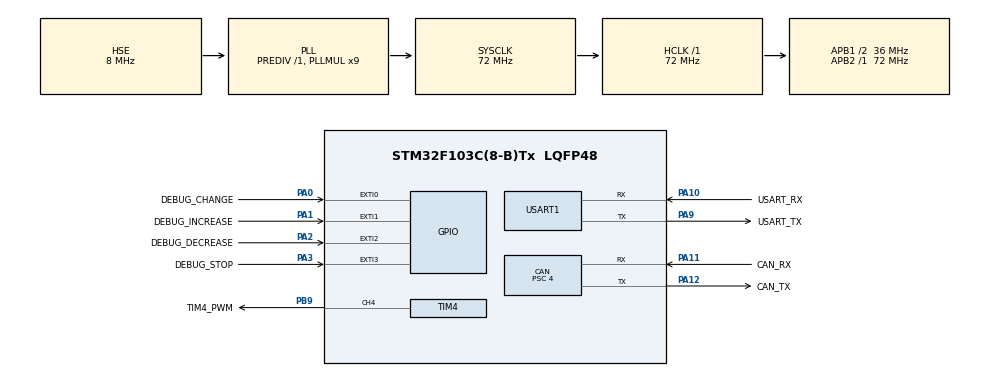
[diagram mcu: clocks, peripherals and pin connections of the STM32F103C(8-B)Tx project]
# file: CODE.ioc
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CAN.ABOM=ENABLE
CAN.AWUM=ENABLE
CAN.BS1=CAN_BS1_5TQ
CAN.BS2=CAN_BS2_3TQ
CAN.CalculateBaudRate=1000000
CAN.CalculateTimeBit=1000
CAN.CalculateTimeQuantum=111.11111111111111
CAN.Mode=CAN_MODE_LOOPBACK
CAN.NART=ENABLE
CAN.Prescaler=4
Dma.Request0=USART1_RX
Dma.Request1=USART1_TX
Dma.USART1_RX.0.Direction=DMA_PERIPH_TO_MEMORY
Dma.USART1_RX.0.Instance=DMA1_Channel5
Dma.USART1_RX.0.MemDataAlignment=DMA_MDATAALIGN_BYTE
Dma.USART1_RX.0.MemInc=DMA_MINC_ENABLE
Dma.USART1_RX.0.Mode=DMA_NORMAL
Dma.USART1_RX.0.PeriphDataAlignment=DMA_PDATAALIGN_BYTE
Dma.USART1_RX.0.PeriphInc=DMA_PINC_DISABLE
Dma.USART1_RX.0.Priority=DMA_PRIORITY_LOW
Dma.USART1_TX.1.Direction=DMA_MEMORY_TO_PERIPH
Dma.USART1_TX.1.Instance=DMA1_Channel4
Dma.USART1_TX.1.MemDataAlignment=DMA_MDATAALIGN_BYTE
Dma.USART1_TX.1.MemInc=DMA_MINC_ENABLE
Dma.USART1_TX.1.Mode=DMA_NORMAL
Dma.USART1_TX.1.PeriphDataAlignment=DMA_PDATAALIGN_BYTE
Dma.USART1_TX.1.PeriphInc=DMA_PINC_DISABLE
Dma.USART1_TX.1.Priority=DMA_PRIORITY_LOW
Mcu.Family=STM32F1
Mcu.Name=STM32F103C(8-B)Tx
Mcu.Package=LQFP48
NVIC.DMA1_Channel4_IRQn=true\:0\:0\:false\:false\:true\:false\:true\:true
NVIC.DMA1_Channel5_IRQn=true\:0\:0\:false\:false\:true\:false\:true\:true
NVIC.EXTI0_IRQn=true\:0\:0\:false\:false\:true\:true\:true\:true
NVIC.EXTI1_IRQn=true\:0\:0\:false\:false\:true\:true\:true\:true
NVIC.EXTI2_IRQn=true\:0\:0\:false\:false\:true\:true\:true\:true
NVIC.EXTI3_IRQn=true\:0\:0\:false\:false\:true\:true\:true\:true
NVIC.PriorityGroup=NVIC_PRIORITYGROUP_4
NVIC.TIM1_UP_IRQn=true\:15\:0\:false\:false\:true\:true\:true\:true
NVIC.USART1_IRQn=true\:0\:0\:false\:false\:true\:true\:true\:true
NVIC.USB_LP_CAN1_RX0_IRQn=true\:0\:0\:false\:false\:true\:true\:true\:true
PA0-WKUP.GPIO_Label=DEBUG_CHANGE
PA0-WKUP.GPIO_PuPd=GPIO_PULLDOWN
PA0-WKUP.Signal=GPXTI0
PA1.GPIO_Label=DEBUG_INCREASE
PA1.Signal=GPXTI1
PA10.GPIO_Label=USART_RX
PA10.Mode=Asynchronous
PA10.Signal=USART1_RX
PA11.GPIO_Label=CAN_RX
PA11.GPIO_PuPd=GPIO_PULLUP
PA11.Mode=CAN_Activate
PA11.Signal=CAN_RX
PA12.GPIO_Label=CAN_TX
PA12.Mode=CAN_Activate
PA12.Signal=CAN_TX
PA13.Mode=Serial_Wire
PA13.Signal=SYS_JTMS-SWDIO
PA14.Mode=Serial_Wire
PA14.Signal=SYS_JTCK-SWCLK
PA2.GPIO_Label=DEBUG_DECREASE
PA2.Signal=GPXTI2
PA3.GPIO_Label=DEBUG_STOP
PA3.Signal=GPXTI3
PA9.GPIO_Label=USART_TX
PA9.Mode=Asynchronous
PA9.Signal=USART1_TX
PB9.GPIO_Label=TIM4_PWM
PB9.Signal=S_TIM4_CH4
PC14-OSC32_IN.Mode=LSE-External-Oscillator
PC14-OSC32_IN.Signal=RCC_OSC32_IN
PC15-OSC32_OUT.Mode=LSE-External-Oscillator
PC15-OSC32_OUT.Signal=RCC_OSC32_OUT
PD0-OSC_IN.Mode=HSE-External-Oscillator
PD0-OSC_IN.Signal=RCC_OSC_IN
PD1-OSC_OUT.Mode=HSE-External-Oscillator
PD1-OSC_OUT.Signal=RCC_OSC_OUT
ProjectManager.HeapSize=0x200
ProjectManager.StackSize=0x400
ProjectManager.TargetToolchain=Makefile
RCC.AHBFreq_Value=72000000
RCC.APB1CLKDivider=RCC_HCLK_DIV2
RCC.APB1Freq_Value=36000000
RCC.APB1TimFreq_Value=72000000
RCC.APB2Freq_Value=72000000
RCC.APB2TimFreq_Value=72000000
RCC.HCLKFreq_Value=72000000
RCC.PLLMUL=RCC_PLL_MUL9
RCC.PLLSourceVirtual=RCC_PLLSOURCE_HSE
RCC.SYSCLKFreq_VALUE=72000000
RCC.SYSCLKSource=RCC_SYSCLKSOURCE_PLLCLK
RCC.USBFreq_Value=72000000
SH.S_TIM4_CH4.0=TIM4_CH4,PWM Generation4 CH4
TIM1.AutoReloadPreload=TIM_AUTORELOAD_PRELOAD_ENABLE
TIM1.Period=100-1
TIM1.Prescaler=720-1
TIM4.AutoReloadPreload=TIM_AUTORELOAD_PRELOAD_ENABLE
TIM4.Channel-PWM\ Generation4\ CH4=TIM_CHANNEL_4
TIM4.OCPolarity_4=TIM_OCPOLARITY_HIGH
TIM4.Period=20000-1
TIM4.Prescaler=72-1
USART1.VirtualMode=VM_ASYNC
VP_TIM1_VS_ClockSourceINT.Mode=Internal
board=custom

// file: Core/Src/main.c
/* USER CODE BEGIN Header */
/**
 ******************************************************************************
 * @file           : main.c
 * @brief          : Main program body
 ******************************************************************************
 * @attention
 *
 * Copyright (c) 2025 STMicroelectronics.
 * All rights reserved.
 *
 * This software is licensed under terms that can be found in the LICENSE file
 * in the root directory of this software component.
 * If no LICENSE file comes with this software, it is provided AS-IS.
 *
 ******************************************************************************
 */
/* USER CODE END Header */
#include "main.h"
#include "can.h"
#include "dma.h"
#include "tim.h"
#include "usart.h"
#include "gpio.h"

/* USER CODE BEGIN Includes */
#include "controller.h"
/* USER CODE END Includes */

/* USER CODE BEGIN PD */
#define UART_RX_BUFF_LENGTH 64
/* USER CODE END PD */

/* USER CODE BEGIN PV */
uint8_t UART_RxBuff[UART_RX_BUFF_LENGTH];
uint8_t CAN_TxBuff[8] = {0x01, 0x02, 0x03, 0x04, 0x05, 0x06, 0x07, 0x08};

/* USER CODE END PV */

void SystemClock_Config(void);

int main(void)
{

    /* MCU Configuration--------------------------------------------------------*/

    /* Reset of all peripherals, Initializes the Flash interface and the Systick. */
    HAL_Init();

    /* Configure the system clock */
    SystemClock_Config();

    /* Initialize all configured peripherals */
    MX_GPIO_Init();
    MX_DMA_Init();
    MX_CAN_Init();
    MX_USART1_UART_Init();
    MX_TIM1_Init();
    MX_TIM4_Init();
    /* USER CODE BEGIN 2 */
    // 定时器配置
    // 中断定时器
    HAL_TIM_Base_Start_IT(&htim1);
    // PWM定时器。此模板下，该定时器的PSC为72，ARR为20000，计算得周期为20ms，计数器低于ARR时，输出高电平
    HAL_TIM_PWM_Start(&htim4, TIM_CHANNEL_4);

    // 串口接受数据开始
    HAL_UARTEx_ReceiveToIdle_DMA(&huart1, UART_RxBuff, UART_RX_BUFF_LENGTH);

    // 控制器配置
    Controller_Init();
    /* USER CODE END 2 */

    /* Infinite loop */
    while (1) {

        /* USER CODE BEGIN 3 */
        // TEST——测试用代码
        for (int8_t i = 0; i <= 100; i++) {
            __HAL_TIM_SetCompare(&htim4, TIM_CHANNEL_4, 20000 / 100 * i);
            HAL_Delay(20);
        }
        for (int8_t i = 100; i >= 0; i--) {
            __HAL_TIM_SetCompare(&htim4, TIM_CHANNEL_4, 20000 / 100 * i);
            HAL_Delay(20);
        }
    }
    /* USER CODE END 3 */
}

void SystemClock_Config(void)
{
    RCC_OscInitTypeDef RCC_OscInitStruct = {0};
    RCC_ClkInitTypeDef RCC_ClkInitStruct = {0};

    /** Initializes the RCC Oscillators according to the specified parameters
     * in the RCC_OscInitTypeDef structure.
     */
    RCC_OscInitStruct.OscillatorType = RCC_OSCILLATORTYPE_HSE;
    RCC_OscInitStruct.HSEState       = RCC_HSE_ON;
    RCC_OscInitStruct.HSEPredivValue = RCC_HSE_PREDIV_DIV1;
    RCC_OscInitStruct.HSIState       = RCC_HSI_ON;
    RCC_OscInitStruct.PLL.PLLState   = RCC_PLL_ON;
    RCC_OscInitStruct.PLL.PLLSource  = RCC_PLLSOURCE_HSE;
    RCC_OscInitStruct.PLL.PLLMUL     = RCC_PLL_MUL9;
    if (HAL_RCC_OscConfig(&RCC_OscInitStruct) != HAL_OK) {
        Error_Handler();
    }

    /** Initializes the CPU, AHB and APB buses clocks
     */
    RCC_ClkInitStruct.ClockType      = RCC_CLOCKTYPE_HCLK | RCC_CLOCKTYPE_SYSCLK | RCC_CLOCKTYPE_PCLK1 | RCC_CLOCKTYPE_PCLK2;
    RCC_ClkInitStruct.SYSCLKSource   = RCC_SYSCLKSOURCE_PLLCLK;
    RCC_ClkInitStruct.AHBCLKDivider  = RCC_SYSCLK_DIV1;
    RCC_ClkInitStruct.APB1CLKDivider = RCC_HCLK_DIV2;
    RCC_ClkInitStruct.APB2CLKDivider = RCC_HCLK_DIV1;

    if (HAL_RCC_ClockConfig(&RCC_ClkInitStruct, FLASH_LATENCY_2) != HAL_OK) {
        Error_Handler();
    }
}

/* USER CODE BEGIN 4 */

/**
 * @brief  Reception Event Callback (Rx event notification called after use of advanced reception service).
 * @param  huart UART handle
 * @param  Size  Number of data available in application reception buffer (indicates a position in
 *               reception buffer until which, data are available)
 * @retval None
 */
void HAL_UARTEx_RxEventCallback(UART_HandleTypeDef *huart, uint16_t Size)
{
    if (huart->Instance == USART1) {
        // TODO UART不定长数据接受中断处理代码
        __NOP();
        // 开始接受下一组数据
        HAL_UARTEx_ReceiveToIdle_DMA(&huart1, UART_RxBuff, UART_RX_BUFF_LENGTH);
    }
    // TODO 若存在多个串口，在此处继续添加代码即可
}

/**
 * @brief  EXTI line detection callbacks.
 * @param  GPIO_Pin: Specifies the pins connected EXTI line
 * @retval None
 */
void HAL_GPIO_EXTI_Callback(uint16_t GPIO_Pin)
{
    EXTI_Handler(GPIO_Pin);
}

/**
 * @brief  Period elapsed callback in non-blocking mode
 * @param  htim TIM handle
 * @retval None
 */
void HAL_TIM_PeriodElapsedCallback(TIM_HandleTypeDef *htim)
{
    if (htim->Instance == TIM1) {
        // TODO 定时器中断处理代码。此模板中，该定时器每1ms发生一次中断
        __NOP();
    }
}

/* USER CODE END 4 */

void Error_Handler(void)
{
    __disable_irq();
    while (1) {
    }
}
